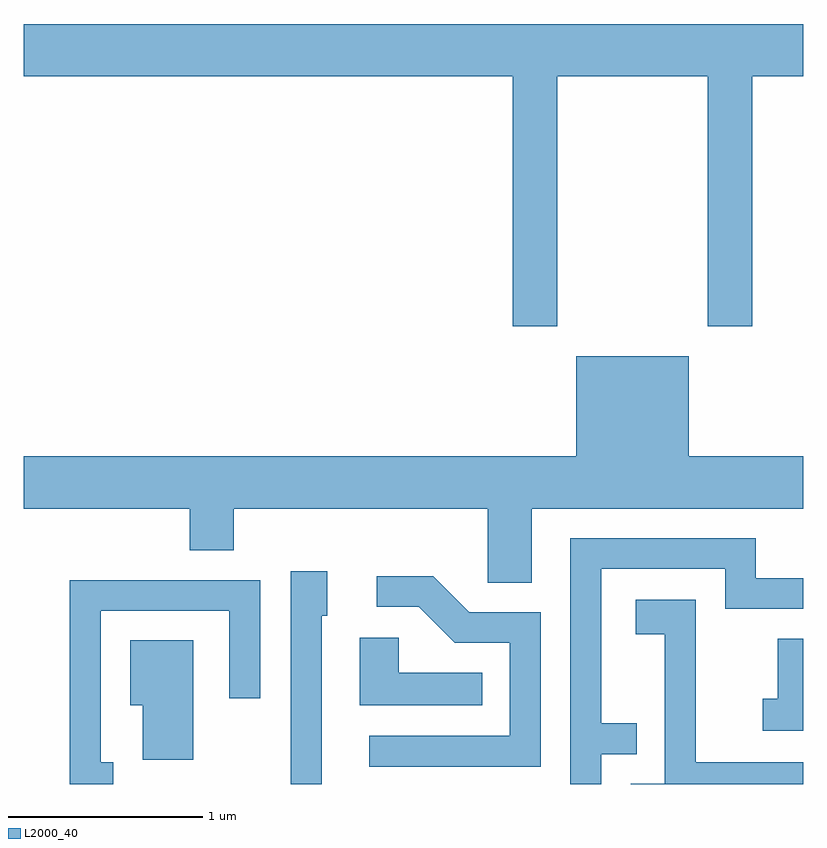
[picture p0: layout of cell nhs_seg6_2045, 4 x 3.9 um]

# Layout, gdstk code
import gdstk
lib = gdstk.Library(unit=1e-6, precision=1e-09)
def P(c, l, *ps):  # polygons
    for p in ps: c.add(gdstk.Polygon(p, *l))
L2000_40 = (2000, 40)

nhs_seg6_2045 = lib.new_cell('nhs_seg6_2045')
P(nhs_seg6_2045, L2000_40, [(250.349,1567.796),(251.121,1567.796),(251.121,1566.511),(251.349,1566.511),(251.349,1567.796),(251.611,1567.796),(251.611,1568.064),(247.611,1568.064),(247.611,1567.796),(250.121,1567.796),(250.121,1566.511),(250.349,1566.511)],
  [(250.219,1565.576),(251.611,1565.576),(251.611,1565.844),(251.024,1565.844),(251.024,1566.359),(250.446,1566.359),(250.446,1565.844),(247.611,1565.844),(247.611,1565.576),(248.461,1565.576),(248.461,1565.361),(248.689,1565.361),(248.689,1565.576),(249.991,1565.576),(249.991,1565.196),(250.219,1565.196)],
  [(250.574,1564.316),(250.758,1564.316),(250.758,1564.474),(250.574,1564.474),(250.574,1565.266),(251.211,1565.266),(251.211,1565.061),(251.611,1565.061),(251.611,1565.219),(251.369,1565.219),(251.369,1565.424),(250.416,1565.424),(250.416,1564.162),(250.574,1564.162)],
  [(249.139,1565.026),(249.169,1565.026),(249.169,1565.254),(248.981,1565.254),(248.981,1564.162),(249.139,1564.162)],
  [(250.264,1565.044),(249.897,1565.044),(249.712,1565.229),(249.423,1565.229),(249.423,1565.071),(249.639,1565.071),(249.824,1564.886),(250.106,1564.886),(250.106,1564.409),(249.383,1564.409),(249.383,1564.251),(250.264,1564.251)],
  [(248.069,1564.274),(248.004,1564.274),(248.004,1565.051),(248.666,1565.051),(248.666,1564.603),(248.824,1564.603),(248.824,1565.209),(247.846,1565.209),(247.846,1564.162),(248.069,1564.162)],
  [(251.611,1564.274),(251.059,1564.274),(251.059,1565.109),(250.751,1565.109),(250.751,1564.931),(250.901,1564.931),(250.901,1564.164),(250.726,1564.164),(250.726,1564.162),(251.611,1564.162)],
  [(249.963,1564.734),(249.534,1564.734),(249.534,1564.914),(249.336,1564.914),(249.336,1564.566),(249.963,1564.566)],
  [(251.611,1564.909),(251.481,1564.909),(251.481,1564.599),(251.403,1564.599),(251.403,1564.436),(251.611,1564.436)],
  [(248.479,1564.899),(248.156,1564.899),(248.156,1564.566),(248.221,1564.566),(248.221,1564.286),(248.479,1564.286)])

lib.write_gds('nhs_seg6_2045.gds')
